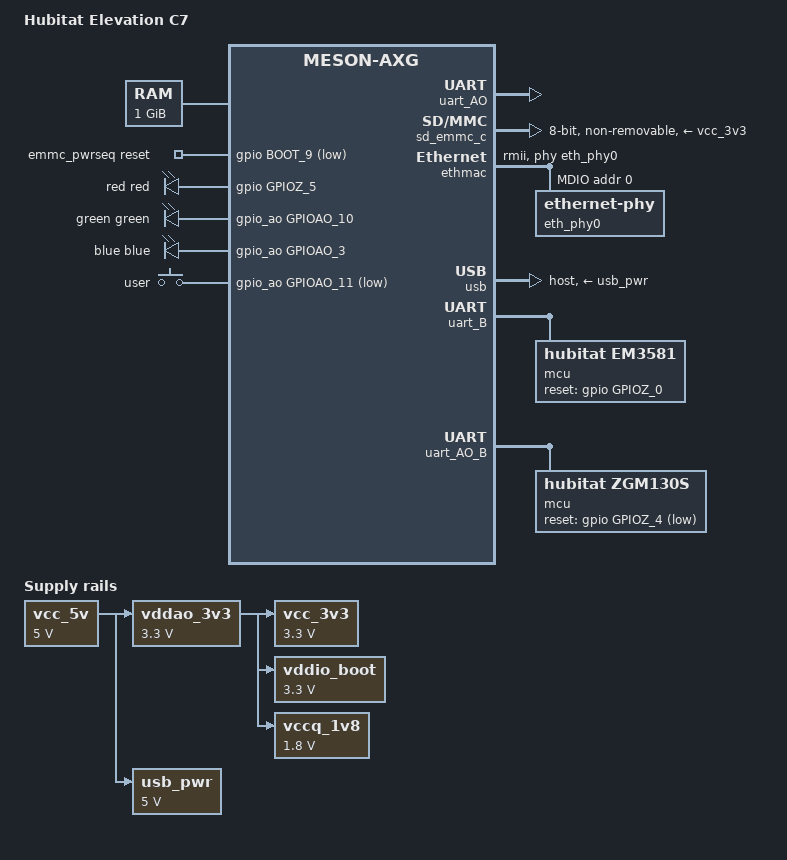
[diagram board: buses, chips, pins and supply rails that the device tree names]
// SPDX-License-Identifier: (GPL-2.0+ OR MIT)
/*
 * Device tree for the Hubitat Elevation C7 (Amlogic A113X / meson-axg)
 */

/dts-v1/;

#include "meson-axg.dtsi"
#include <dt-bindings/gpio/gpio.h>
#include <dt-bindings/input/input.h>
#include <dt-bindings/interrupt-controller/irq.h>
#include <dt-bindings/leds/common.h>

/ {
	compatible = "hubitat,elevation-c7", "amlogic,a113x", "amlogic,meson-axg";
	model = "Hubitat Elevation C7";

	aliases {
		serial0 = &uart_AO;    /* console, ttyAML0 */
		serial1 = &uart_B;     /* Zigbee, ttyAML1 */
		serial2 = &uart_AO_B;  /* Z-Wave, ttyAML2 */
		ethernet0 = &ethmac;
	};

	chosen {
		stdout-path = "serial0:115200n8";
	};

	/* 1 GiB at 0x0 */
	memory@0 {
		device_type = "memory";
		reg = <0x0 0x0 0x0 0x40000000>;
	};

	reserved-memory {
		linux,cma {
			size = <0x0 0x400000>;
		};
	};

	/* eMMC reset is BOOT_9 */
	emmc_pwrseq: emmc-pwrseq {
		compatible = "mmc-pwrseq-emmc";
		reset-gpios = <&gpio BOOT_9 GPIO_ACTIVE_LOW>;
	};

	/* Fixed always-on rails: a model, not a measured enable pin */
	vcc_5v: regulator-vcc-5v {
		compatible = "regulator-fixed";
		regulator-name = "VCC5V";
		regulator-min-microvolt = <5000000>;
		regulator-max-microvolt = <5000000>;
		regulator-always-on;
	};

	vddao_3v3: regulator-vddao-3v3 {
		compatible = "regulator-fixed";
		regulator-name = "VDDAO_3V3";
		regulator-min-microvolt = <3300000>;
		regulator-max-microvolt = <3300000>;
		vin-supply = <&vcc_5v>;
		regulator-always-on;
	};

	vcc_3v3: regulator-vcc-3v3 {
		compatible = "regulator-fixed";
		regulator-name = "VCC_3V3";
		regulator-min-microvolt = <3300000>;
		regulator-max-microvolt = <3300000>;
		vin-supply = <&vddao_3v3>;
		regulator-always-on;
	};

	vddio_boot: regulator-vddio-boot {
		compatible = "regulator-fixed";
		regulator-name = "VDDIO_BOOT";
		regulator-min-microvolt = <3300000>;
		regulator-max-microvolt = <3300000>;
		vin-supply = <&vddao_3v3>;
		regulator-always-on;
	};

	vccq_1v8: regulator-vccq-1v8 {
		compatible = "regulator-fixed";
		regulator-name = "VCCQ_1V8";
		regulator-min-microvolt = <1800000>;
		regulator-max-microvolt = <1800000>;
		vin-supply = <&vddao_3v3>;
		regulator-always-on;
	};

	usb_pwr: regulator-usb-pwr {
		compatible = "regulator-fixed";
		regulator-name = "USB_PWR";
		regulator-min-microvolt = <5000000>;
		regulator-max-microvolt = <5000000>;
		vin-supply = <&vcc_5v>;
		regulator-always-on;
	};

	/* SCPI thermal sensor. No cooling-maps: meson-axg.dtsi has
	 * no cpufreq cooling device to bind. The critical trip still
	 * powers off.
	 */
	thermal-zones {
		cpu_thermal: cpu-thermal {
			polling-delay-passive = <250>;
			polling-delay = <1000>;
			thermal-sensors = <&scpi_sensors 0>;

			trips {
				cpu_critical: cpu-critical {
					temperature = <100000>;
					hysteresis = <2000>;
					type = "critical";
				};
			};
		};
	};

	/* Front RGB, active-high */
	leds {
		compatible = "gpio-leds";

		led_red: led-0 {
			color = <LED_COLOR_ID_RED>;
			function = LED_FUNCTION_STATUS;
			gpios = <&gpio GPIOZ_5 GPIO_ACTIVE_HIGH>;
			label = "red";
		};

		led_green: led-1 {
			color = <LED_COLOR_ID_GREEN>;
			function = LED_FUNCTION_STATUS;
			gpios = <&gpio_ao GPIOAO_10 GPIO_ACTIVE_HIGH>;
			label = "green";
		};

		led_blue: led-2 {
			color = <LED_COLOR_ID_BLUE>;
			function = LED_FUNCTION_STATUS;
			gpios = <&gpio_ao GPIOAO_3 GPIO_ACTIVE_HIGH>;
			label = "blue";
		};
	};

	/* Bottom button, GPIOAO_11, active-low */
	/* gpio_intc pad 11; one virq per pad, AXG channel has one polarity bit */
	keys {
		compatible = "gpio-keys";

		user {
			label = "user";
			linux,code = <BTN_1>;
			gpios = <&gpio_ao GPIOAO_11 GPIO_ACTIVE_LOW>;
			interrupt-parent = <&gpio_intc>;
			interrupts = <11 IRQ_TYPE_EDGE_FALLING>;
			debounce-interval = <50>;
		};
	};
};

/* ------------------------------------------------------------------
 * Serial console: 115200 8N1
 *   2TP1 = 3V3, 2TP2 = RX, 2TP3 = TX, 2TP4 = GND
 *   pad order: 2TP4, 2TP2, 2TP3, 2TP1
 * ------------------------------------------------------------------ */
&uart_AO {
	status = "okay";
	pinctrl-0 = <&uart_ao_a_pins>;
	pinctrl-names = "default";
};

/* ------------------------------------------------------------------
 * eMMC: Samsung 8GTF4R, 7.28 GiB, 8-bit HS200
 * ------------------------------------------------------------------ */
&sd_emmc_c {
	status = "okay";
	pinctrl-0 = <&emmc_pins>, <&emmc_ds_pins>;
	pinctrl-1 = <&emmc_clk_gate_pins>;
	pinctrl-names = "default", "clk-gate";

	bus-width = <8>;
	cap-mmc-highspeed;
	max-frequency = <200000000>;
	non-removable;
	disable-wp;
	mmc-ddr-1_8v;
	mmc-hs200-1_8v;

	mmc-pwrseq = <&emmc_pwrseq>;

	vmmc-supply = <&vcc_3v3>;
	vqmmc-supply = <&vccq_1v8>;
};

/* meson-axg.dtsi leaves nand-controller@7800 enabled with nand_all_pins,
 * which includes BOOT_0 (eMMC DAT0). This board has eMMC and no NAND.
 * Leaving the controller on fails mmc@7000: BOOT_0 already requested.
 */
&nfc {
	status = "disabled";
};

/* ------------------------------------------------------------------
 * Ethernet: RMII on bank X, PHY address 0, Realtek RTL8201F
 * GPIOX_8 is the MAC. GPIOX_22 is MDC; there is no PHY reset GPIO.
 * ------------------------------------------------------------------ */
&ethmac {
	status = "okay";
	pinctrl-0 = <&eth_rmii_x_pins>;
	pinctrl-names = "default";
	phy-handle = <&eth_phy0>;
	phy-mode = "rmii";

	mdio {
		compatible = "snps,dwmac-mdio";
		#address-cells = <1>;
		#size-cells = <0>;

		eth_phy0: ethernet-phy@0 {
			max-speed = <100>;
			reg = <0>;
		};
	};
};

/* ------------------------------------------------------------------
 * Micro-USB
 * dr_mode = host is a Linux choice; the port also works as a gadget.
 * otg needs a gadget function loaded.
 * ------------------------------------------------------------------ */
&usb {
	status = "okay";
	dr_mode = "host";
	vbus-supply = <&usb_pwr>;
};

/* uart_A TX is GPIOX_8, already used by ethernet */
&uart_A {
	status = "disabled";
};

/* ------------------------------------------------------------------
 * Radios
 *
 *   ttyAML0  uart_AO    console   uart_ao_a
 *   ttyAML1  uart_B     Zigbee    uart_b on GPIOZ
 *   ttyAML2  uart_AO_B  Z-Wave    uart_ao_b_z on GPIOZ
 *
 * Do not use uart_ao_b_pins (AO bank). Z-Wave is uart_ao_b_z.
 * Do not claim RTS/CTS: a floating CTS stalls TX, and GPIOZ_0 is
 * the Zigbee reset, not UART RTS.
 *
 * reset-gpios: assert = in reset, deassert = run
 * Zigbee GPIOZ_0 is live when the line is low.
 * Z-Wave GPIOZ_4 is RESETN (active-low).
 * GPIOZ_1 and GPIOZ_6/7 are unused.
 * ------------------------------------------------------------------ */

&gpio {
	gpio-line-names = "zigbee-reset", "", "", "", "zwave-reset";
};

/* Zigbee EM3581: TX/RX on GPIOZ_2/3 */
&uart_B {
	status = "okay";
	pinctrl-0 = <&uart_b_z_pins>;
	pinctrl-names = "default";

	mcu {
		compatible = "hubitat,em3581";
		reset-gpios = <&gpio GPIOZ_0 GPIO_ACTIVE_HIGH>;
	};
};

/* Z-Wave ZGM130S: TX/RX on GPIOZ_8/9 */
&uart_AO_B {
	status = "okay";
	pinctrl-0 = <&uart_ao_b_z_pins>;
	pinctrl-names = "default";

	mcu {
		compatible = "hubitat,zgm130s";
		reset-gpios = <&gpio GPIOZ_4 GPIO_ACTIVE_LOW>;
	};
};

/* ------------------------------------------------------------------
 * Left disabled:
 *   sd_emmc_a/b  -- no SD slot, no SDIO wifi
 *   uart_A       -- GPIOX_8 is ethernet
 *   i2c / spicc  -- not used on this board
 * ------------------------------------------------------------------ */
